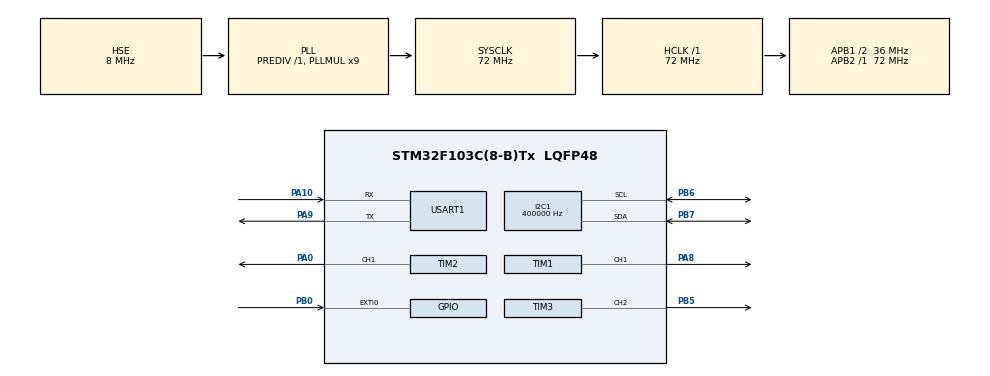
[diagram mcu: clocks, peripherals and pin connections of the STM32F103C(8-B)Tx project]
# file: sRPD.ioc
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Dma.Request0=USART1_TX
Dma.Request1=USART1_RX
Dma.USART1_RX.1.Direction=DMA_PERIPH_TO_MEMORY
Dma.USART1_RX.1.Instance=DMA1_Channel5
Dma.USART1_RX.1.MemDataAlignment=DMA_MDATAALIGN_BYTE
Dma.USART1_RX.1.MemInc=DMA_MINC_ENABLE
Dma.USART1_RX.1.Mode=DMA_CIRCULAR
Dma.USART1_RX.1.PeriphDataAlignment=DMA_PDATAALIGN_BYTE
Dma.USART1_RX.1.PeriphInc=DMA_PINC_DISABLE
Dma.USART1_RX.1.Priority=DMA_PRIORITY_HIGH
Dma.USART1_TX.0.Direction=DMA_MEMORY_TO_PERIPH
Dma.USART1_TX.0.Instance=DMA1_Channel4
Dma.USART1_TX.0.MemDataAlignment=DMA_MDATAALIGN_BYTE
Dma.USART1_TX.0.MemInc=DMA_MINC_ENABLE
Dma.USART1_TX.0.Mode=DMA_NORMAL
Dma.USART1_TX.0.PeriphDataAlignment=DMA_PDATAALIGN_BYTE
Dma.USART1_TX.0.PeriphInc=DMA_PINC_DISABLE
Dma.USART1_TX.0.Priority=DMA_PRIORITY_HIGH
I2C1.ClockSpeed=400000
I2C1.I2C_Mode=I2C_Fast
Mcu.Family=STM32F1
Mcu.Name=STM32F103C(8-B)Tx
Mcu.Package=LQFP48
NVIC.DMA1_Channel4_IRQn=true\:0\:0\:false\:false\:true\:false\:true\:true
NVIC.DMA1_Channel5_IRQn=true\:0\:0\:false\:false\:true\:false\:true\:true
NVIC.EXTI0_IRQn=true\:1\:0\:true\:false\:true\:true\:true\:true
NVIC.PriorityGroup=NVIC_PRIORITYGROUP_4
NVIC.USART1_IRQn=true\:0\:0\:false\:false\:true\:true\:true\:true
PA0-WKUP.Signal=S_TIM2_CH1_ETR
PA10.GPIO_PuPd=GPIO_PULLUP
PA10.Mode=Asynchronous
PA10.Signal=USART1_RX
PA13.Mode=Serial_Wire
PA13.Signal=SYS_JTMS-SWDIO
PA14.Mode=Serial_Wire
PA14.Signal=SYS_JTCK-SWCLK
PA8.Signal=S_TIM1_CH1
PA9.GPIO_Mode=GPIO_MODE_AF_PP
PA9.Mode=Asynchronous
PA9.Signal=USART1_TX
PB0.GPIO_ModeDefaultEXTI=GPIO_MODE_IT_FALLING
PB0.GPIO_PuPd=GPIO_PULLUP
PB0.Signal=GPXTI0
PB5.Signal=S_TIM3_CH2
PB6.Mode=I2C
PB6.Signal=I2C1_SCL
PB7.Mode=I2C
PB7.Signal=I2C1_SDA
PD0-OSC_IN.Mode=HSE-External-Oscillator
PD0-OSC_IN.Signal=RCC_OSC_IN
PD1-OSC_OUT.Mode=HSE-External-Oscillator
PD1-OSC_OUT.Signal=RCC_OSC_OUT
ProjectManager.HeapSize=0x200
ProjectManager.StackSize=0x400
ProjectManager.TargetToolchain=CMake
RCC.AHBFreq_Value=72000000
RCC.APB1CLKDivider=RCC_HCLK_DIV2
RCC.APB1Freq_Value=36000000
RCC.APB1TimFreq_Value=72000000
RCC.APB2Freq_Value=72000000
RCC.APB2TimFreq_Value=72000000
RCC.HCLKFreq_Value=72000000
RCC.PLLMUL=RCC_PLL_MUL9
RCC.PLLSourceVirtual=RCC_PLLSOURCE_HSE
RCC.SYSCLKFreq_VALUE=72000000
RCC.SYSCLKSource=RCC_SYSCLKSOURCE_PLLCLK
RCC.USBFreq_Value=72000000
SH.S_TIM1_CH1.0=TIM1_CH1,PWM Generation1 CH1
SH.S_TIM2_CH1_ETR.0=TIM2_CH1,PWM Generation1 CH1
SH.S_TIM3_CH2.0=TIM3_CH2,PWM Generation2 CH2
TIM1.AutoReloadPreload=TIM_AUTORELOAD_PRELOAD_ENABLE
TIM1.Channel-PWM\ Generation1\ CH1=TIM_CHANNEL_1
TIM1.Period=999
TIM1.Prescaler=71
TIM2.Channel-PWM\ Generation1\ CH1=TIM_CHANNEL_1
TIM2.Period=19999
TIM2.Prescaler=71
TIM3.Channel-PWM\ Generation2\ CH2=TIM_CHANNEL_2
TIM3.Period=499
TIM3.Prescaler=71
USART1.VirtualMode=VM_ASYNC
VP_TIM1_VS_ClockSourceINT.Mode=Internal
VP_TIM2_VS_ClockSourceINT.Mode=Internal
VP_TIM3_VS_ClockSourceINT.Mode=Internal
board=custom

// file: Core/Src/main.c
/* USER CODE BEGIN Header */
/**
  ******************************************************************************
  * @file           : main.c
  * @brief          : Main program body
  ******************************************************************************
  * @attention
  *
  * Copyright (c) 2026 STMicroelectronics.
  * All rights reserved.
  *
  * This software is licensed under terms that can be found in the LICENSE file
  * in the root directory of this software component.
  * If no LICENSE file comes with this software, it is provided AS-IS.
  *
  ******************************************************************************
  */
/* USER CODE END Header */
#include "main.h"
#include "dma.h"
#include "i2c.h"
#include "tim.h"
#include "usart.h"
#include "gpio.h"

/* USER CODE BEGIN Includes */
#include "start.h"
#include "display.h"
#include "uart.h"
#include "servo.h"
#include "vl53l0x.h"
#include "buzzer.h"
#include "key.h"
#include "radar.h"
#include "oled.h"
/* USER CODE END Includes */

void SystemClock_Config(void);

int main(void)
{

  /* MCU Configuration--------------------------------------------------------*/

  /* Reset of all peripherals, Initializes the Flash interface and the Systick. */
  HAL_Init();

  /* Configure the system clock */
  SystemClock_Config();

  /* Initialize all configured peripherals */
  MX_GPIO_Init();
  MX_DMA_Init();
  MX_TIM1_Init();
  MX_I2C1_Init();
  MX_USART1_UART_Init();
  MX_TIM2_Init();
  MX_TIM3_Init();
  /* USER CODE BEGIN 2 */
  Display_Init(); // 初始化OLED
  DisplayOn(); // 显示学号姓名
  Start_Run(); // 呼吸灯闪烁

  UART_Init(); // 初始化串口
  Servo_Init(); // 初始化舵机
  Buzzer_Init(); // 初始化蜂鸣器
  Vl53l0x_Init(); // 初始化Vl53l0x
  Radar_Init(); // 初始化雷达
  uint8_t mode = 0; // 初始化雷达模式
  /* USER CODE END 2 */

  /* Infinite loop */
  /* USER CODE BEGIN WHILE */
  while (1)
  {
    if (mode == 0){
      if (Radar_Scan()){
        mode = 1; // 扫描中按键切到跟踪
        Buzzer_Off();
      }
    } else {
      if (Radar_Track()) {
        mode = 0; // 跟踪中按键切回扫描
        Buzzer_Off();
      }
    }
    /* USER CODE END WHILE */

    }
}

void SystemClock_Config(void)
{
  RCC_OscInitTypeDef RCC_OscInitStruct = {0};
  RCC_ClkInitTypeDef RCC_ClkInitStruct = {0};

  /** Initializes the RCC Oscillators according to the specified parameters
  * in the RCC_OscInitTypeDef structure.
  */
  RCC_OscInitStruct.OscillatorType = RCC_OSCILLATORTYPE_HSE;
  RCC_OscInitStruct.HSEState = RCC_HSE_ON;
  RCC_OscInitStruct.HSEPredivValue = RCC_HSE_PREDIV_DIV1;
  RCC_OscInitStruct.HSIState = RCC_HSI_ON;
  RCC_OscInitStruct.PLL.PLLState = RCC_PLL_ON;
  RCC_OscInitStruct.PLL.PLLSource = RCC_PLLSOURCE_HSE;
  RCC_OscInitStruct.PLL.PLLMUL = RCC_PLL_MUL9;
  if (HAL_RCC_OscConfig(&RCC_OscInitStruct) != HAL_OK)
  {
    Error_Handler();
  }

  /** Initializes the CPU, AHB and APB buses clocks
  */
  RCC_ClkInitStruct.ClockType = RCC_CLOCKTYPE_HCLK|RCC_CLOCKTYPE_SYSCLK
                              |RCC_CLOCKTYPE_PCLK1|RCC_CLOCKTYPE_PCLK2;
  RCC_ClkInitStruct.SYSCLKSource = RCC_SYSCLKSOURCE_PLLCLK;
  RCC_ClkInitStruct.AHBCLKDivider = RCC_SYSCLK_DIV1;
  RCC_ClkInitStruct.APB1CLKDivider = RCC_HCLK_DIV2;
  RCC_ClkInitStruct.APB2CLKDivider = RCC_HCLK_DIV1;

  if (HAL_RCC_ClockConfig(&RCC_ClkInitStruct, FLASH_LATENCY_2) != HAL_OK)
  {
    Error_Handler();
  }
}

void Error_Handler(void)
{
  __disable_irq();
  while (1)
  {
  }
}
